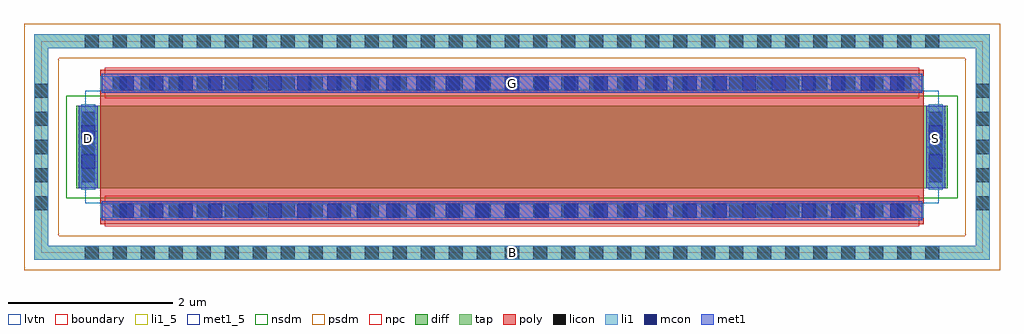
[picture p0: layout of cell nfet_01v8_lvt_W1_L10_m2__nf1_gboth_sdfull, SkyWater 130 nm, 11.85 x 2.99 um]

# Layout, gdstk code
import gdstk
lib = gdstk.Library(unit=1e-6, precision=1e-09)
def R(c, l, rs):  # rectangles x0, y0, x1, y1
    for r in rs: c.add(gdstk.rectangle(r[:2], r[2:], *l))
def A(c, l, x, y, w, h, nx, ny, dx, dy):  # array of equal rectangles
    R(c, l, [(x+i*dx, y+j*dy, x+i*dx+w, y+j*dy+h) for i in range(nx) for j in range(ny)])
diff = (65, 20)
tap = (65, 44)
poly = (66, 20)
licon = (66, 44)
li1_5 = (67, 5)
li1 = (67, 20)
mcon = (67, 44)
met1_5 = (68, 5)
met1 = (68, 20)
nsdm = (93, 44)
psdm = (94, 20)
npc = (95, 20)
lvtn = (125, 44)
boundary = (235, 4)

sky130_fd_pr__nfet_01v8_ = lib.new_cell('sky130_fd_pr__nfet_01v8_lvt_FZAR6W')
R(sky130_fd_pr__nfet_01v8_, diff, [(-5.29,-0.5,5.29,0.5)])
R(sky130_fd_pr__nfet_01v8_, tap, [(-5.8,-1.37,5.8,-1.2), (-5.8,-1.2,-5.63,1.2), (5.63,-1.2,5.8,1.2), (-5.8,1.2,5.8,1.37)])
R(sky130_fd_pr__nfet_01v8_, poly, [(-5,-0.94,5,0.94)])
A(sky130_fd_pr__nfet_01v8_, licon, -5.185, -1.37, 0.17, 0.17, 31, 2, 0.34, 2.57)
A(sky130_fd_pr__nfet_01v8_, licon, -4.845, -0.86, 0.17, 0.17, 29, 2, 0.34, 1.55)
A(sky130_fd_pr__nfet_01v8_, licon, -5.8, -0.765, 0.17, 0.17, 1, 5, 0, 0.34)
A(sky130_fd_pr__nfet_01v8_, licon, 5.63, -0.765, 0.17, 0.17, 1, 5, 0, 0.34)
A(sky130_fd_pr__nfet_01v8_, licon, -5.23, -0.425, 0.17, 0.17, 1, 3, 0, 0.34)
A(sky130_fd_pr__nfet_01v8_, licon, 5.06, -0.425, 0.17, 0.17, 1, 3, 0, 0.34)
R(sky130_fd_pr__nfet_01v8_, li1, [(-5.8,-1.37,5.8,-1.2), (-5.8,-1.2,-5.63,1.2), (5.63,-1.2,5.8,1.2), (-5,-0.86,5,-0.69), (-5.23,-0.52,-5.06,0.52), (5.06,-0.52,5.23,0.52), (-5,0.69,5,0.86), (-5.8,1.2,5.8,1.37)])
A(sky130_fd_pr__nfet_01v8_, mcon, -4.765, -0.86, 0.17, 0.17, 27, 2, 0.36, 1.55)
R(sky130_fd_pr__nfet_01v8_, mcon, [(-5.23,-0.265,-5.06,-0.095), (5.06,-0.265,5.23,-0.095), (-5.23,0.095,-5.06,0.265), (5.06,0.095,5.23,0.265)])
R(sky130_fd_pr__nfet_01v8_, met1, [(-4.98,-0.89,4.98,-0.66), (-5.26,-0.5,-5.03,0.5), (5.03,-0.5,5.26,0.5), (-4.98,0.66,4.98,0.89)])
R(sky130_fd_pr__nfet_01v8_, nsdm, [(-5.415,-0.625,5.415,0.625)])
R(sky130_fd_pr__nfet_01v8_, psdm, [(-5.925,-1.495,5.925,-1.075), (-5.925,-1.075,-5.505,1.075), (5.505,-1.075,5.925,1.075), (-5.925,1.075,5.925,1.495)])
R(sky130_fd_pr__nfet_01v8_, npc, [(-4.945,-0.96,4.945,-0.59), (-4.945,0.59,4.945,0.96)])
R(sky130_fd_pr__nfet_01v8_, lvtn, [(-5.18,-0.68,5.18,0.68)])
R(sky130_fd_pr__nfet_01v8_, boundary, [(-5.715,-1.285,5.715,1.285)])
sky130_fd_pr__nfet_01v8_.add(gdstk.Label('B', (0,-1.285), layer=67, texttype=5))
sky130_fd_pr__nfet_01v8_.add(gdstk.Label('D', (-5.145,0), layer=67, texttype=5))
sky130_fd_pr__nfet_01v8_.add(gdstk.Label('S', (5.145,0), layer=67, texttype=5))
sky130_fd_pr__nfet_01v8_.add(gdstk.Label('G', (0,0.775), layer=67, texttype=5))

nfet_01v8_lvt_w1_l10_m2_ = lib.new_cell('nfet_01v8_lvt_W1_L10_m2__nf1_gboth_sdfull')
R(nfet_01v8_lvt_w1_l10_m2_, li1_5, [(5.63,-0.085,5.8,0.085)])
R(nfet_01v8_lvt_w1_l10_m2_, li1, [(5.63,-0.085,5.8,0.085)])
R(nfet_01v8_lvt_w1_l10_m2_, met1_5, [(0.455,1.285,0.685,1.485), (10.745,1.285,10.975,1.485), (0.735,1.945,10.695,2.175)])
R(nfet_01v8_lvt_w1_l10_m2_, met1, [(0.455,1.285,0.685,1.485), (10.745,1.285,10.975,1.485), (0.735,1.945,10.695,2.175)])
nfet_01v8_lvt_w1_l10_m2_.add(gdstk.Reference(sky130_fd_pr__nfet_01v8_, (5.715,1.285)))
nfet_01v8_lvt_w1_l10_m2_.add(gdstk.Label('D', (0.57,1.385), layer=68, texttype=5))
nfet_01v8_lvt_w1_l10_m2_.add(gdstk.Label('S', (10.86,1.385), layer=68, texttype=5))
nfet_01v8_lvt_w1_l10_m2_.add(gdstk.Label('G', (5.715,2.06), layer=68, texttype=5))
nfet_01v8_lvt_w1_l10_m2_.add(gdstk.Label('B', (5.715,0), layer=67, texttype=5))

lib.write_gds('nfet_01v8_lvt_W1_L10_m2__nf1_gboth_sdfull.gds')
